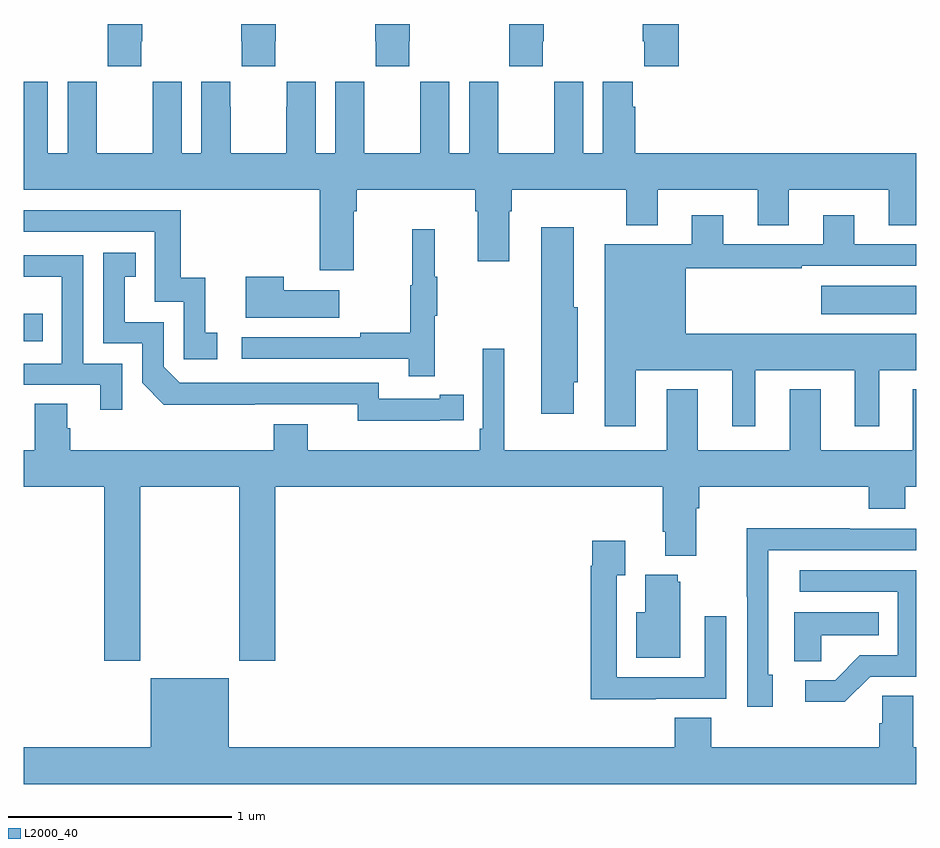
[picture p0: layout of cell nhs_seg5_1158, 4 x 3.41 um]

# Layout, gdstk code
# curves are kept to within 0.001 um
import gdstk
lib = gdstk.Library(unit=1e-6, precision=1e-09)
def R(c, l, rs):  # rectangles x0, y0, x1, y1
    for r in rs: c.add(gdstk.rectangle(r[:2], r[2:], *l))
def P(c, l, *ps):  # polygons
    for p in ps: c.add(gdstk.Polygon(p, *l))
L2000_40 = (2000, 40)

nhs_seg5_1158 = lib.new_cell('nhs_seg5_1158')
R(nhs_seg5_1158, L2000_40, [(181,893.376,181.085,893.499), (184.575,893.498,185,893.626)])
P(nhs_seg5_1158, L2000_40, [(182.127,894.721),(182.13,894.721),(182.13,894.799),(181.975,894.799),(181.975,894.721),(181.977,894.721),(181.977,894.609),(182.127,894.609)],
  [(182.727,894.721),(182.73,894.721),(182.73,894.799),(182.575,894.799),(182.575,894.721),(182.577,894.721),(182.577,894.609),(182.727,894.609)],
  [(183.327,894.721),(183.33,894.721),(183.33,894.799),(183.175,894.799),(183.175,894.721),(183.177,894.721),(183.177,894.609),(183.327,894.609)],
  [(183.935,894.799),(183.775,894.799),(183.775,894.721),(183.781,894.721),(183.781,894.609),(183.935,894.609)],
  [(181.527,894.721),(181.53,894.721),(181.53,894.799),(181.375,894.799),(181.375,894.721),(181.377,894.721),(181.377,894.609),(181.527,894.609)],
  [(182.479,893.96),(182.492,893.96),(182.492,894.056),(183.023,894.056),(183.023,893.96),(183.035,893.96),(183.035,893.736),(183.175,893.736),(183.175,893.96),(183.188,893.96),(183.188,894.056),(183.701,894.056),(183.701,893.897),(183.841,893.897),(183.841,894.056),(184.289,894.056),(184.289,893.896),(184.429,893.896),(184.429,894.056),(184.877,894.056),(184.877,893.896),(185,893.896),(185,894.22),(183.74,894.22),(183.74,894.428),(183.73,894.428),(183.73,894.541),(183.596,894.541),(183.596,894.22),(183.508,894.22),(183.508,894.541),(183.378,894.541),(183.378,894.428),(183.377,894.428),(183.377,894.22),(183.127,894.22),(183.127,894.428),(183.126,894.428),(183.126,894.541),(182.996,894.541),(182.996,894.22),(182.908,894.22),(182.908,894.541),(182.778,894.541),(182.778,894.428),(182.777,894.428),(182.777,894.22),(182.527,894.22),(182.527,894.428),(182.526,894.428),(182.526,894.541),(182.396,894.541),(182.396,894.22),(182.308,894.22),(182.308,894.541),(182.178,894.541),(182.178,894.428),(182.177,894.428),(182.177,894.22),(181.927,894.22),(181.927,894.428),(181.926,894.428),(181.926,894.541),(181.796,894.541),(181.796,894.22),(181.708,894.22),(181.708,894.541),(181.578,894.541),(181.578,894.428),(181.577,894.428),(181.577,894.22),(181.327,894.22),(181.327,894.428),(181.326,894.428),(181.326,894.541),(181.196,894.541),(181.196,894.22),(181.108,894.22),(181.108,894.541),(181,894.541),(181,894.056),(182.327,894.056),(182.327,893.694),(182.479,893.694)],
  [(181.867,893.415),(181.814,893.415),(181.814,893.662),(181.703,893.662),(181.703,893.964),(181,893.964),(181,893.868),(181.587,893.868),(181.587,893.553),(181.716,893.553),(181.716,893.295),(181.867,893.295)],
  [(183.742,893.246),(184.175,893.246),(184.175,892.995),(184.279,892.995),(184.279,893.246),(184.724,893.246),(184.724,892.995),(184.834,892.995),(184.834,893.246),(185,893.246),(185,893.41),(183.967,893.41),(183.967,893.703),(184.487,893.703),(184.487,893.715),(185,893.715),(185,893.811),(184.723,893.811),(184.723,893.941),(184.583,893.941),(184.583,893.811),(184.135,893.811),(184.135,893.941),(183.995,893.941),(183.995,893.812),(183.605,893.812),(183.605,892.995),(183.742,892.995)],
  [(183.466,893.193),(183.484,893.193),(183.484,893.529),(183.466,893.529),(183.466,893.887),(183.32,893.887),(183.32,893.052),(183.466,893.052)],
  [(182.843,893.491),(182.854,893.491),(182.854,893.665),(182.843,893.665),(182.843,893.878),(182.74,893.878),(182.74,893.628),(182.733,893.628),(182.733,893.414),(182.509,893.414),(182.509,893.394),(181.977,893.394),(181.977,893.298),(182.725,893.298),(182.725,893.22),(182.843,893.22)],
  [(182.864,893.022),(182.972,893.022),(182.972,893.138),(182.864,893.138),(182.864,893.118),(182.592,893.118),(182.592,893.19),(181.698,893.19),(181.626,893.262),(181.626,893.463),(181.453,893.463),(181.453,893.667),(181.502,893.667),(181.502,893.773),(181.356,893.773),(181.356,893.367),(181.53,893.367),(181.53,893.19),(181.628,893.093),(182.496,893.094),(182.496,893.021)],
  [(181.44,893.277),(181.266,893.277),(181.266,893.763),(181,893.763),(181,893.666),(181.17,893.666),(181.17,893.277),(181,893.277),(181,893.181),(181.343,893.181),(181.343,893.07),(181.44,893.07)],
  [(182.413,893.605),(182.165,893.605),(182.165,893.665),(181.994,893.665),(181.994,893.483),(182.413,893.483)],
  [(181.521,892.724),(181.966,892.724),(181.966,891.945),(182.126,891.945),(182.126,892.724),(183.863,892.724),(183.863,892.522),(183.875,892.522),(183.875,892.415),(184.015,892.415),(184.015,892.628),(184.028,892.628),(184.028,892.724),(184.787,892.724),(184.787,892.625),(184.952,892.625),(184.952,892.724),(185,892.724),(185,893.161),(184.985,893.161),(184.985,892.888),(184.573,892.888),(184.573,893.161),(184.433,893.161),(184.433,892.888),(184.021,892.888),(184.021,893.161),(183.881,893.161),(183.881,892.888),(183.154,892.888),(183.154,893.344),(183.057,893.344),(183.057,892.984),(183.044,892.984),(183.044,892.888),(182.272,892.888),(182.272,893.005),(182.12,893.005),(182.12,892.888),(181.208,892.888),(181.208,892.986),(181.195,892.986),(181.195,893.096),(181.048,893.096),(181.048,892.888),(181,892.888),(181,892.724),(181.361,892.724),(181.361,891.945),(181.521,891.945)],
  [(184.357,891.882),(184.338,891.882),(184.338,892.44),(185,892.44),(185,892.536),(184.703,892.536),(184.703,892.538),(184.24,892.538),(184.24,892.231),(184.242,892.231),(184.242,891.738),(184.357,891.738)],
  [(183.833,891.774),(184.149,891.774),(184.149,892.144),(184.053,892.144),(184.053,891.87),(183.657,891.87),(183.657,892.327),(183.697,892.327),(183.697,892.483),(183.549,892.483),(183.549,892.37),(183.541,892.37),(183.541,891.773),(183.833,891.773)],
  [(184.794,891.873),(185,891.873),(185,892.35),(184.479,892.35),(184.479,892.254),(184.917,892.254),(184.917,891.969),(184.748,891.969),(184.637,891.858),(184.503,891.858),(184.503,891.761),(184.681,891.761)],
  [(183.943,892.299),(183.932,892.299),(183.932,892.33),(183.785,892.33),(183.785,892.162),(183.746,892.162),(183.746,891.959),(183.943,891.959)],
  [(184.575,892.058),(184.832,892.058),(184.832,892.162),(184.454,892.162),(184.454,891.943),(184.575,891.943)],
  [(185,891.556),(184.987,891.556),(184.987,891.788),(184.848,891.788),(184.848,891.665),(184.835,891.665),(184.835,891.556),(184.082,891.556),(184.082,891.689),(183.917,891.689),(183.917,891.556),(181.918,891.556),(181.918,891.865),(181.568,891.865),(181.568,891.556),(181,891.556),(181,891.392),(185,891.392)])

lib.write_gds('nhs_seg5_1158.gds')
